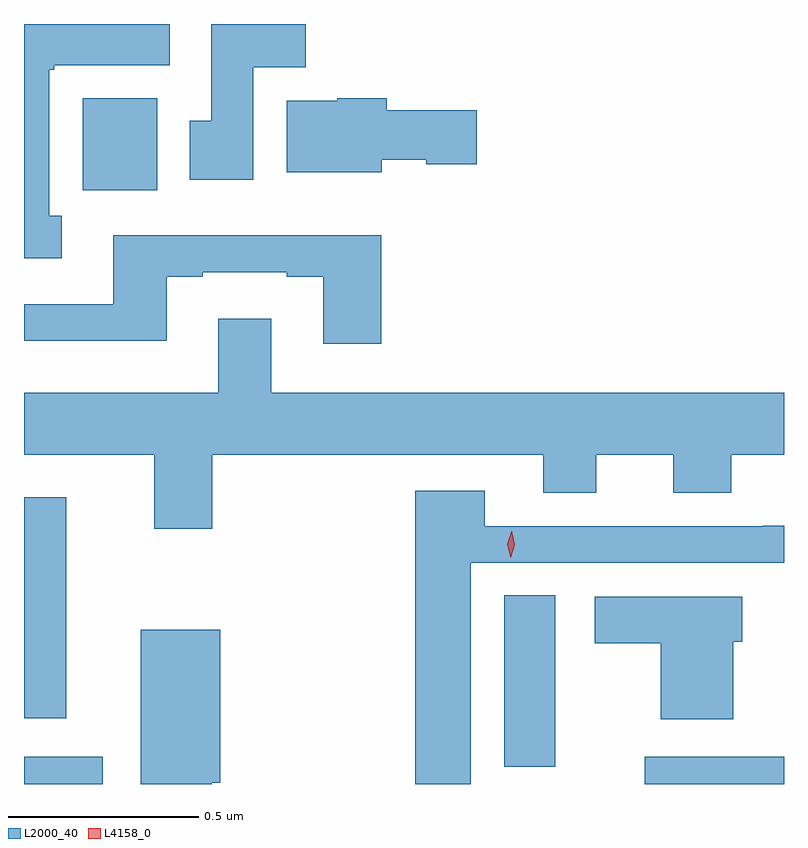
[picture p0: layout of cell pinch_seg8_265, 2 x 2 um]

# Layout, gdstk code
import gdstk
lib = gdstk.Library(unit=1e-6, precision=1e-09)
def R(c, l, rs):  # rectangles x0, y0, x1, y1
    for r in rs: c.add(gdstk.rectangle(r[:2], r[2:], *l))
def P(c, l, *ps):  # polygons
    for p in ps: c.add(gdstk.Polygon(p, *l))
L2000_40 = (2000, 40)
L4158_0 = (4158, 0)

pinch_seg8_265 = lib.new_cell('pinch_seg8_265')
R(pinch_seg8_265, L2000_40, [(497.32,1155.594,497.527,1155.666), (498.954,1155.594,499.32,1155.666), (498.584,1155.639,498.718,1156.091), (497.32,1155.767,497.431,1156.348), (497.474,1157.156,497.671,1157.398)])
P(pinch_seg8_265, L2000_40, [(497.923,1157.48),(498.062,1157.48),(498.062,1157.594),(497.813,1157.594),(497.813,1157.34),(497.756,1157.34),(497.756,1157.184),(497.923,1157.184)],
  [(497.419,1157.09),(497.386,1157.09),(497.386,1157.473),(497.4,1157.473),(497.4,1157.486),(497.704,1157.486),(497.704,1157.594),(497.32,1157.594),(497.32,1156.977),(497.419,1156.977)],
  [(498.262,1157.237),(498.378,1157.237),(498.378,1157.225),(498.511,1157.225),(498.511,1157.367),(498.275,1157.367),(498.275,1157.398),(498.144,1157.398),(498.144,1157.392),(498.011,1157.392),(498.011,1157.204),(498.262,1157.204)],
  [(498.26,1157.038),(497.555,1157.038),(497.555,1156.857),(497.32,1156.857),(497.32,1156.76),(497.695,1156.76),(497.695,1156.929),(497.791,1156.929),(497.791,1156.941),(498.011,1156.941),(498.011,1156.929),(498.107,1156.929),(498.107,1156.752),(498.26,1156.752)],
  [(497.816,1156.46),(498.686,1156.46),(498.686,1156.361),(498.826,1156.361),(498.826,1156.46),(499.028,1156.46),(499.028,1156.361),(499.181,1156.361),(499.181,1156.46),(499.32,1156.46),(499.32,1156.624),(497.971,1156.624),(497.971,1156.819),(497.831,1156.819),(497.831,1156.624),(497.32,1156.624),(497.32,1156.46),(497.663,1156.46),(497.663,1156.266),(497.816,1156.266)],
  [(498.496,1156.176),(499.32,1156.176),(499.32,1156.274),(499.264,1156.274),(499.264,1156.272),(498.532,1156.272),(498.532,1156.366),(498.35,1156.366),(498.35,1155.594),(498.496,1155.594)],
  [(499.186,1155.969),(499.21,1155.969),(499.21,1156.087),(498.822,1156.087),(498.822,1155.965),(498.995,1155.965),(498.995,1155.764),(499.186,1155.764)],
  [(497.814,1155.597),(497.836,1155.597),(497.836,1156),(497.627,1156),(497.627,1155.594),(497.814,1155.594)])
P(pinch_seg8_265, L4158_0, [(498.601,1156.189),(498.601,1156.189),(498.592,1156.225),(498.603,1156.261),(498.604,1156.261),(498.604,1156.261),(498.612,1156.224),(498.601,1156.189)])

lib.write_gds('pinch_seg8_265.gds')
